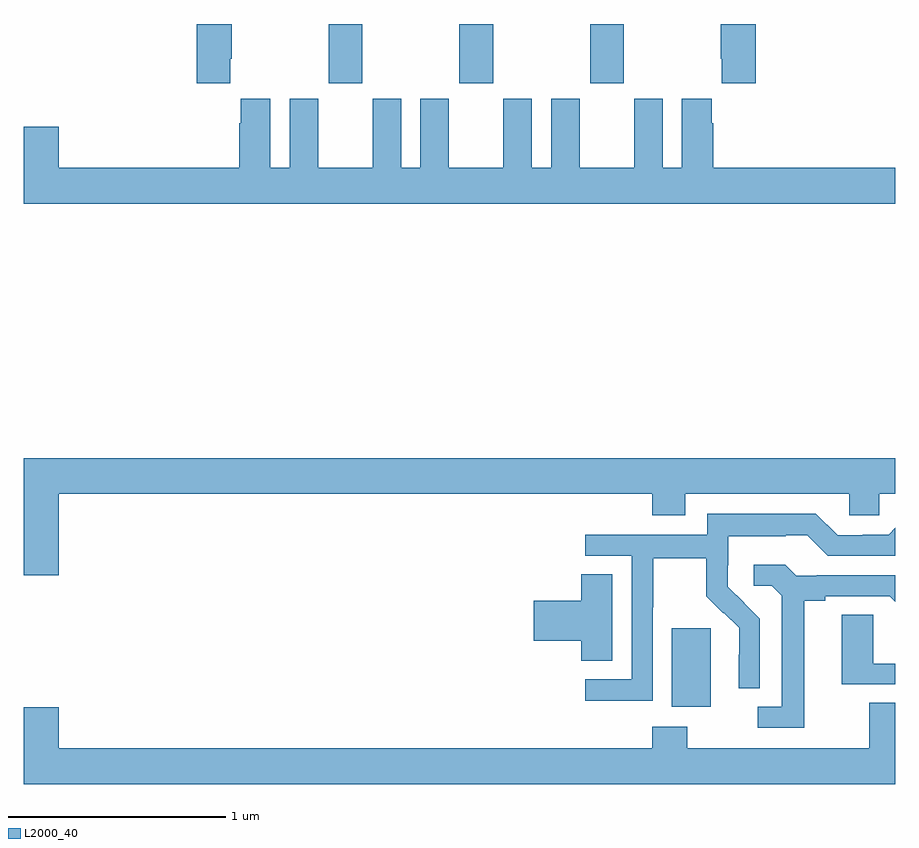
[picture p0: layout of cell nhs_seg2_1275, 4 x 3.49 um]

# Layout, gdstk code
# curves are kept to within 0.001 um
import gdstk
lib = gdstk.Library(unit=1e-6, precision=1e-09)
def R(c, l, rs):  # rectangles x0, y0, x1, y1
    for r in rs: c.add(gdstk.rectangle(r[:2], r[2:], *l))
def A(c, l, x, y, w, h, nx, ny, dx, dy):  # array of equal rectangles
    R(c, l, [(x+i*dx, y+j*dy, x+i*dx+w, y+j*dy+h) for i in range(nx) for j in range(ny)])
def P(c, l, *ps):  # polygons
    for p in ps: c.add(gdstk.Polygon(p, *l))
L2000_40 = (2000, 40)

nhs_seg2_1275 = lib.new_cell('nhs_seg2_1275')
A(nhs_seg2_1275, L2000_40, 178.399, 641.529, 0.155, 0.271, 3, 1, 0.6, 0)
R(nhs_seg2_1275, L2000_40, [(179.975,638.666,180.154,639.027)])
P(nhs_seg2_1275, L2000_40, [(180.359,641.8),(180.199,641.8),(180.199,641.641),(180.203,641.641),(180.203,641.529),(180.359,641.529)],
  [(177.949,641.641),(177.954,641.641),(177.954,641.8),(177.794,641.8),(177.794,641.529),(177.949,641.529)],
  [(181,641.14),(180.164,641.14),(180.164,641.345),(180.157,641.345),(180.157,641.458),(180.02,641.458),(180.02,641.14),(179.932,641.14),(179.932,641.458),(179.801,641.458),(179.801,641.14),(179.551,641.14),(179.551,641.458),(179.42,641.458),(179.42,641.14),(179.332,641.14),(179.332,641.458),(179.201,641.458),(179.201,641.14),(178.951,641.14),(178.951,641.458),(178.82,641.458),(178.82,641.14),(178.732,641.14),(178.732,641.458),(178.601,641.458),(178.601,641.14),(178.351,641.14),(178.351,641.458),(178.22,641.458),(178.22,641.14),(178.132,641.14),(178.132,641.458),(177.995,641.458),(177.995,641.345),(177.989,641.345),(177.989,641.14),(177.16,641.14),(177.16,641.329),(177,641.329),(177,640.976),(181,640.976)],
  [(177.16,639.644),(179.885,639.644),(179.885,639.545),(180.037,639.545),(180.037,639.644),(180.789,639.644),(180.789,639.546),(180.927,639.546),(180.927,639.644),(181,639.644),(181,639.808),(177,639.808),(177,639.27),(177.16,639.27)],
  [(179.886,639.124),(179.889,639.124),(179.889,639.348),(180.133,639.348),(180.133,639.173),(180.21,639.096),(180.213,639.099),(180.284,639.029),(180.284,638.906),(180.282,638.906),(180.282,638.752),(180.378,638.752),(180.378,639.07),(180.232,639.218),(180.232,639.315),(180.234,639.315),(180.234,639.449),(180.497,639.449),(180.497,639.453),(180.597,639.453),(180.69,639.36),(181,639.36),(181,639.487),(180.969,639.456),(180.851,639.456),(180.851,639.453),(180.735,639.453),(180.635,639.553),(180.138,639.553),(180.138,639.456),(179.577,639.456),(179.577,639.36),(179.79,639.36),(179.79,638.793),(179.577,638.793),(179.577,638.695),(179.886,638.695)],
  [(180.583,639.152),(180.679,639.152),(180.679,639.174),(180.974,639.174),(181,639.148),(181,639.27),(180.64,639.27),(180.64,639.267),(180.546,639.267),(180.494,639.319),(180.351,639.319),(180.351,639.222),(180.432,639.222),(180.479,639.175),(180.479,638.667),(180.369,638.667),(180.369,638.571),(180.583,638.571)],
  [(179.701,639.275),(179.558,639.275),(179.558,639.152),(179.34,639.152),(179.34,638.969),(179.558,638.969),(179.558,638.878),(179.701,638.878)],
  [(181,638.865),(180.9,638.865),(180.9,639.089),(180.755,639.089),(180.755,638.769),(181,638.769)],
  [(181,638.684),(180.881,638.684),(180.881,638.476),(180.045,638.476),(180.045,638.575),(179.885,638.575),(179.885,638.476),(177.16,638.476),(177.16,638.665),(177,638.665),(177,638.312),(181,638.312)])

lib.write_gds('nhs_seg2_1275.gds')
